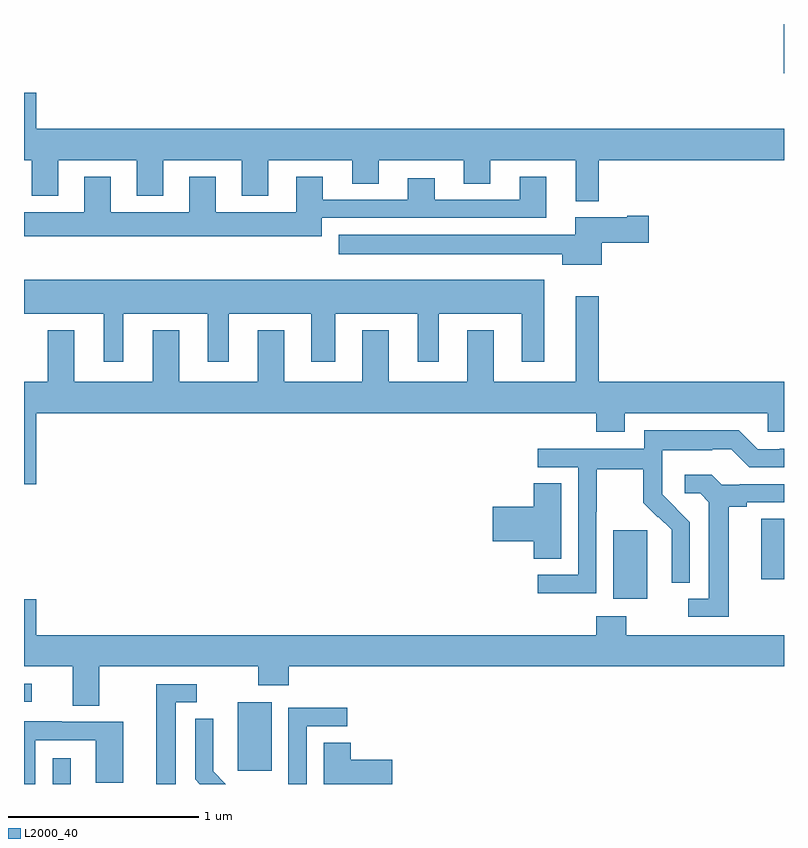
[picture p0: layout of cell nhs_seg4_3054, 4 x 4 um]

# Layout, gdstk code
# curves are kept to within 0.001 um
import gdstk
lib = gdstk.Library(unit=1e-6, precision=1e-09)
def R(c, l, rs):  # rectangles x0, y0, x1, y1
    for r in rs: c.add(gdstk.rectangle(r[:2], r[2:], *l))
def P(c, l, *ps):  # polygons
    for p in ps: c.add(gdstk.Polygon(p, *l))
L2000_40 = (2000, 40)

nhs_seg4_3054 = lib.new_cell('nhs_seg4_3054')
R(nhs_seg4_3054, L2000_40, [(273.15,762.9,273.247,763.036), (274.124,762.969,274.303,763.33), (273,763.332,273.04,763.428), (276.101,763.874,276.28,764.235), (276.881,763.977,277,764.297), (276.998,766.642,277,766.9)])
P(nhs_seg4_3054, L2000_40, [(276.025,766.184),(277,766.184),(277,766.348),(273.064,766.348),(273.064,766.537),(273,766.537),(273,766.184),(273.041,766.184),(273.041,765.995),(273.181,765.995),(273.181,766.184),(273.593,766.184),(273.593,765.995),(273.733,765.995),(273.733,766.184),(274.145,766.184),(274.145,765.995),(274.285,765.995),(274.285,766.184),(274.727,766.184),(274.727,766.06),(274.867,766.06),(274.867,766.184),(275.315,766.184),(275.315,766.06),(275.455,766.06),(275.455,766.184),(275.903,766.184),(275.903,765.968),(276.025,765.968)],
  [(274.567,765.879),(275.749,765.879),(275.749,766.096),(275.609,766.096),(275.609,765.975),(275.161,765.975),(275.161,766.087),(275.021,766.087),(275.021,765.975),(274.573,765.975),(274.573,766.096),(274.433,766.096),(274.433,765.91),(274.009,765.91),(274.009,766.096),(273.869,766.096),(273.869,765.91),(273.457,765.91),(273.457,766.096),(273.317,766.096),(273.317,765.91),(273,765.91),(273,765.782),(274.567,765.782)],
  [(276.04,765.749),(276.289,765.749),(276.289,765.891),(276.176,765.891),(276.176,765.883),(275.9,765.883),(275.9,765.79),(274.656,765.79),(274.656,765.689),(275.834,765.689),(275.834,765.632),(276.04,765.632)],
  [(273.523,765.374),(273.968,765.374),(273.968,765.123),(274.078,765.123),(274.078,765.374),(274.511,765.374),(274.511,765.123),(274.639,765.123),(274.639,765.374),(275.072,765.374),(275.072,765.123),(275.182,765.123),(275.182,765.374),(275.621,765.374),(275.621,765.123),(275.737,765.123),(275.737,765.553),(273,765.553),(273,765.374),(273.419,765.374),(273.419,765.123),(273.523,765.123)],
  [(273.064,764.852),(276.011,764.852),(276.011,764.753),(276.163,764.753),(276.163,764.852),(276.915,764.852),(276.915,764.754),(277,764.754),(277,765.016),(276.025,765.016),(276.025,765.466),(275.903,765.466),(275.903,765.016),(275.473,765.016),(275.473,765.289),(275.333,765.289),(275.333,765.016),(274.921,765.016),(274.921,765.289),(274.781,765.289),(274.781,765.016),(274.369,765.016),(274.369,765.289),(274.229,765.289),(274.229,765.016),(273.817,765.016),(273.817,765.289),(273.677,765.289),(273.677,765.016),(273.265,765.016),(273.265,765.289),(273.125,765.289),(273.125,765.016),(273,765.016),(273,764.478),(273.064,764.478)],
  [(276.012,764.332),(276.015,764.332),(276.015,764.556),(276.259,764.556),(276.259,764.381),(276.336,764.304),(276.339,764.307),(276.41,764.237),(276.41,764.114),(276.408,764.114),(276.408,763.96),(276.504,763.96),(276.504,764.278),(276.358,764.426),(276.358,764.523),(276.36,764.523),(276.36,764.657),(276.623,764.657),(276.623,764.661),(276.723,764.661),(276.816,764.568),(277,764.568),(277,764.664),(276.977,764.664),(276.977,764.661),(276.861,764.661),(276.761,764.761),(276.264,764.761),(276.264,764.664),(275.703,764.664),(275.703,764.568),(275.916,764.568),(275.916,764.001),(275.703,764.001),(275.703,763.903),(276.012,763.903)],
  [(276.709,764.36),(276.805,764.36),(276.805,764.382),(277,764.382),(277,764.478),(276.766,764.478),(276.766,764.475),(276.672,764.475),(276.62,764.527),(276.477,764.527),(276.477,764.43),(276.558,764.43),(276.605,764.383),(276.605,763.875),(276.495,763.875),(276.495,763.779),(276.709,763.779)],
  [(275.827,764.483),(275.684,764.483),(275.684,764.36),(275.466,764.36),(275.466,764.177),(275.684,764.177),(275.684,764.086),(275.827,764.086)],
  [(273.397,763.52),(274.234,763.52),(274.234,763.421),(274.394,763.421),(274.394,763.52),(277,763.52),(277,763.684),(276.171,763.684),(276.171,763.783),(276.011,763.783),(276.011,763.684),(273.064,763.684),(273.064,763.873),(273,763.873),(273,763.52),(273.257,763.52),(273.257,763.312),(273.397,763.312)],
  [(273.799,763.329),(273.91,763.329),(273.91,763.425),(273.695,763.425),(273.695,762.9),(273.799,762.9)],
  [(274.488,763.203),(274.702,763.203),(274.702,763.302),(274.392,763.302),(274.392,762.9),(274.488,762.9)],
  [(273.995,762.968),(273.995,763.09),(273.996,763.09),(273.996,763.244),(273.9,763.244),(273.9,762.926),(273.926,762.9),(274.062,762.9)],
  [(273.06,763.131),(273.378,763.131),(273.378,762.907),(273.523,762.907),(273.523,763.227),(273.199,763.227),(273.199,763.231),(273,763.231),(273,762.9),(273.06,762.9)],
  [(274.939,763.028),(274.721,763.028),(274.721,763.118),(274.577,763.118),(274.577,762.9),(274.939,762.9)])

lib.write_gds('nhs_seg4_3054.gds')
